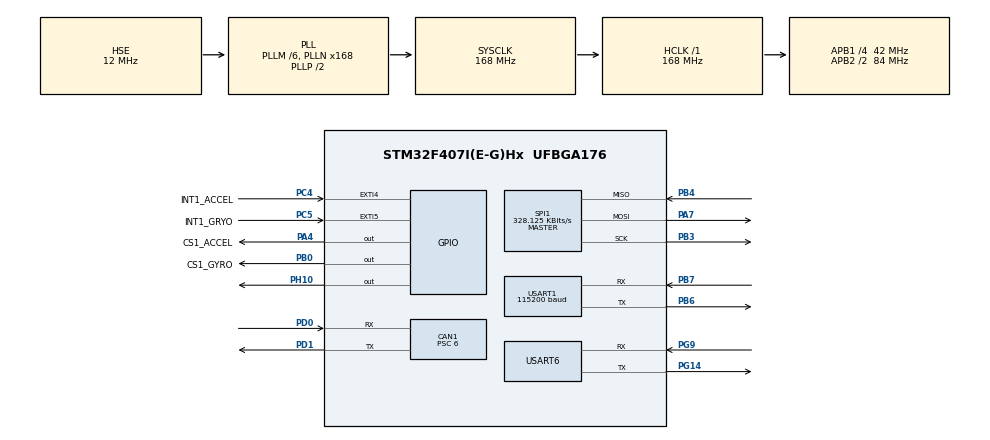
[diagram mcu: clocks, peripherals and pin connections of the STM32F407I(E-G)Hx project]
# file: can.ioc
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CAN1.BS1=CAN_BS1_10TQ
CAN1.BS2=CAN_BS2_3TQ
CAN1.CalculateTimeQuantum=142.85714285714286
CAN1.Prescaler=6
Dma.Request0=SPI1_RX
Dma.Request1=SPI1_TX
Dma.SPI1_RX.0.Direction=DMA_PERIPH_TO_MEMORY
Dma.SPI1_RX.0.FIFOMode=DMA_FIFOMODE_DISABLE
Dma.SPI1_RX.0.Instance=DMA2_Stream2
Dma.SPI1_RX.0.MemDataAlignment=DMA_MDATAALIGN_BYTE
Dma.SPI1_RX.0.MemInc=DMA_MINC_ENABLE
Dma.SPI1_RX.0.Mode=DMA_NORMAL
Dma.SPI1_RX.0.PeriphDataAlignment=DMA_PDATAALIGN_BYTE
Dma.SPI1_RX.0.PeriphInc=DMA_PINC_DISABLE
Dma.SPI1_RX.0.Priority=DMA_PRIORITY_VERY_HIGH
Dma.SPI1_TX.1.Direction=DMA_MEMORY_TO_PERIPH
Dma.SPI1_TX.1.FIFOMode=DMA_FIFOMODE_DISABLE
Dma.SPI1_TX.1.Instance=DMA2_Stream3
Dma.SPI1_TX.1.MemDataAlignment=DMA_MDATAALIGN_BYTE
Dma.SPI1_TX.1.MemInc=DMA_MINC_ENABLE
Dma.SPI1_TX.1.Mode=DMA_NORMAL
Dma.SPI1_TX.1.PeriphDataAlignment=DMA_PDATAALIGN_BYTE
Dma.SPI1_TX.1.PeriphInc=DMA_PINC_DISABLE
Dma.SPI1_TX.1.Priority=DMA_PRIORITY_HIGH
Mcu.Family=STM32F4
Mcu.Name=STM32F407I(E-G)Hx
Mcu.Package=UFBGA176
NVIC.CAN1_RX0_IRQn=true\:2\:0\:true\:false\:true\:true\:true\:true
NVIC.DMA2_Stream2_IRQn=true\:0\:0\:false\:false\:false\:false\:true\:true
NVIC.DMA2_Stream3_IRQn=true\:0\:0\:false\:false\:false\:false\:true\:true
NVIC.PriorityGroup=NVIC_PRIORITYGROUP_4
NVIC.TIM1_UP_TIM10_IRQn=true\:1\:0\:true\:false\:true\:true\:true\:true
NVIC.USART1_IRQn=true\:0\:0\:false\:false\:true\:true\:true\:true
NVIC.USART6_IRQn=true\:0\:0\:false\:false\:true\:true\:true\:true
PA13.Mode=Serial_Wire
PA13.Signal=SYS_JTMS-SWDIO
PA14.Mode=Serial_Wire
PA14.Signal=SYS_JTCK-SWCLK
PA4.GPIO_Label=CS1_ACCEL
PA4.GPIO_PuPd=GPIO_PULLUP
PA4.GPIO_Speed=GPIO_SPEED_FREQ_HIGH
PA4.PinState=GPIO_PIN_SET
PA4.Signal=GPIO_Output
PA7.Mode=Full_Duplex_Master
PA7.Signal=SPI1_MOSI
PB0.GPIO_Label=CS1_GYRO
PB0.GPIO_PuPd=GPIO_PULLUP
PB0.GPIO_Speed=GPIO_SPEED_FREQ_HIGH
PB0.PinState=GPIO_PIN_SET
PB0.Signal=GPIO_Output
PB3.Mode=Full_Duplex_Master
PB3.Signal=SPI1_SCK
PB4.Mode=Full_Duplex_Master
PB4.Signal=SPI1_MISO
PB6.Mode=Asynchronous
PB6.Signal=USART1_TX
PB7.Mode=Asynchronous
PB7.Signal=USART1_RX
PC4.GPIO_Label=INT1_ACCEL
PC4.GPIO_ModeDefaultEXTI=GPIO_MODE_IT_FALLING
PC4.GPIO_PuPd=GPIO_PULLUP
PC4.Signal=GPXTI4
PC5.GPIO_Label=INT1_GRYO
PC5.GPIO_ModeDefaultEXTI=GPIO_MODE_IT_FALLING
PC5.GPIO_PuPd=GPIO_PULLUP
PC5.Signal=GPXTI5
PD0.Mode=Master
PD0.Signal=CAN1_RX
PD1.Mode=Master
PD1.Signal=CAN1_TX
PF6.GPIO_ModeDefaultPP=GPIO_MODE_AF_PP
PF6.GPIO_PuPd=GPIO_NOPULL
PF6.GPIO_Speed=GPIO_SPEED_FREQ_LOW
PF6.Signal=S_TIM10_CH1
PG14.Mode=Asynchronous
PG14.Signal=USART6_TX
PG9.Mode=Asynchronous
PG9.Signal=USART6_RX
PH0-OSC_IN.Mode=HSE-External-Oscillator
PH0-OSC_IN.Signal=RCC_OSC_IN
PH1-OSC_OUT.Mode=HSE-External-Oscillator
PH1-OSC_OUT.Signal=RCC_OSC_OUT
PH10.Signal=GPIO_Output
ProjectManager.HeapSize=0x200
ProjectManager.StackSize=0x400
ProjectManager.TargetToolchain=MDK-ARM V5
RCC.48MHZClocksFreq_Value=84000000
RCC.AHBFreq_Value=168000000
RCC.APB1CLKDivider=RCC_HCLK_DIV4
RCC.APB1Freq_Value=42000000
RCC.APB1TimFreq_Value=84000000
RCC.APB2CLKDivider=RCC_HCLK_DIV2
RCC.APB2Freq_Value=84000000
RCC.APB2TimFreq_Value=168000000
RCC.CortexFreq_Value=168000000
RCC.HCLKFreq_Value=168000000
RCC.HSE_VALUE=12000000
RCC.HSI_VALUE=16000000
RCC.LSE_VALUE=32768
RCC.PLLM=6
RCC.PLLN=168
RCC.PLLSourceVirtual=RCC_PLLSOURCE_HSE
RCC.SYSCLKFreq_VALUE=168000000
RCC.SYSCLKSource=RCC_SYSCLKSOURCE_PLLCLK
RCC.VCOOutputFreq_Value=336000000
SH.S_TIM10_CH1.0=TIM10_CH1
SPI1.BaudRatePrescaler=SPI_BAUDRATEPRESCALER_256
SPI1.CLKPhase=SPI_PHASE_2EDGE
SPI1.CLKPolarity=SPI_POLARITY_HIGH
SPI1.CalculateBaudRate=328.125 KBits/s
SPI1.Direction=SPI_DIRECTION_2LINES
SPI1.Mode=SPI_MODE_MASTER
SPI1.VirtualType=VM_MASTER
TIM10.Period=8400
TIM10.Prescaler=1000
USART1.BaudRate=115200
USART1.VirtualMode=VM_ASYNC
USART6.VirtualMode=VM_ASYNC
VP_TIM10_VS_ClockSourceINT.Mode=Enable_Timer
board=custom

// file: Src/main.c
/* USER CODE BEGIN Header */
/**
  ******************************************************************************
  * @file           : main.c
  * @brief          : Main program body
  ******************************************************************************
  * @attention
  *
  * <h2><center>&copy; Copyright (c) 2019 STMicroelectronics.
  * All rights reserved.</center></h2>
  *
  * This software component is licensed by ST under BSD 3-Clause license,
  * the "License"; You may not use this file except in compliance with the
  * License. You may obtain a copy of the License at:
  *                        opensource.org/licenses/BSD-3-Clause
  *
  ******************************************************************************
  */
/* USER CODE END Header */

#include "main.h"
#include "can.h"
#include "dma.h"
#include "spi.h"
#include "tim.h"
#include "usart.h"
#include "gpio.h"

/* USER CODE BEGIN Includes */
#include "bsp_can.h"
#include "CAN_receive.h"
#include "BMI088driver.h"
#include "PID.h"
#include "math.h"
#include "CAN_receive.h"

#define FRONT_WHEEL_DISTANCE 0.628  // 前轮到车辆重心的距离 (单位: mm)
#define REAR_WHEEL_DISTANCE 0.440   // 后轮到车辆重心的距离 (单位: mm)
#define MAX_STEERING_ANGLE 30     // �?大转向角度（度）
#define M_PI 3.1415926
#define MAX_SP 21000  // �?大车速（km/h�?
#define Dwheel  0.144
float vehicle_speed;   // 车�?�，单位 km/h
float turning_radius;   // 转弯半径，单�? m

// 假设车�?�和转向角度通过某种方式获取?
void CalculateAndSendWheelSpeeds(float speed, float angle);
float CalculateTurningRadius(float speed, float angle);

/* USER CODE END Includes */

void SystemClock_Config(void);

/* USER CODE BEGIN 0 */
PID_TypeDef PID_Example;
float measure = 0;
float target = 0;
extern motor_measure_t motor_chassis[7];
extern uint8_t Fore,Back,Left,Right;
extern  int fputc(int ch);
extern int MAX_SPEED;
extern int SPEED1;
extern int SPEED2;
extern int SPEED3;
extern int SPEED4;
extern uint8_t rx_buf;
extern uint8_t Bluetooth_data;
extern int flag1;
uint8_t A[]={02,02,02,02,02,02,02,02};
extern int Dif;
extern int flag;
extern int flag2;
extern int flag3;
extern int max();
extern int lim();
extern int limit();
int t_speed=0;
extern uint8_t Rec_Speed[8];
extern int Speed_Num;
/* USER CODE END 0 */

int main(void)
{

  /* MCU Configuration--------------------------------------------------------*/

  /* Reset of all peripherals, Initializes the Flash interface and the Systick. */
  HAL_Init();

  /* Configure the system clock */
  SystemClock_Config();

  /* Initialize all configured peripherals */
  MX_GPIO_Init();
  MX_DMA_Init();
  MX_CAN1_Init();
  MX_USART6_UART_Init();
  MX_SPI1_Init();
  MX_TIM10_Init();
  MX_USART1_UART_Init();
  /* USER CODE BEGIN 2 */
    can_filter_init();
	HAL_TIM_Base_Start_IT(&htim10);
//	    while(BMI088_init())
//    {
//        ;
//    }
//	PID_Init(&PID_Example, 9600, 5000, 0,3, 1, 5, 0.3, 0.3, 100, 100, ErrorHandle | Integral_Limit | OutputFilter);
   HAL_Delay(2000);
	 		CAN_cmd_init();
    __HAL_UART_ENABLE_IT(&huart1, UART_IT_RXNE);  //receive interrupt
    __HAL_UART_ENABLE_IT(&huart1, UART_IT_IDLE);  //idle interrupt
	 __HAL_UART_ENABLE_IT(&huart6, UART_IT_RXNE);  //receive interrupt
    __HAL_UART_ENABLE_IT(&huart6, UART_IT_IDLE);  //idle interrupt
  /* USER CODE END 2 */

  /* Infinite loop */
  /* USER CODE BEGIN WHILE */
  CAN_cmd_chassis(0, 0, 0, 0);

  while (1)
  {
	 // CAN_cmd_chassis1(A);

	  if(flag1==1)
	  {
		  flag1=0;
	    if(Bluetooth_data==0xF0)
		 {
		 	flag3=1;
		  }
		  //CAN_cmd_chassis(2000,-2000,2000,-2000);
		  if(flag3==0)
		  {

	  if(Bluetooth_data==0x00)

	{
		stop:

	   flag2=1;
		switch(flag)
     {
		case 1:
			for(int i=1000;t_speed-i>=0;i+=1000)
              {
				if(flag2==1&&flag1==0)
				{
			    CAN_cmd_chassis(limit(t_speed-i), -limit(t_speed-i),limit(t_speed-i),-limit(t_speed-i));
				HAL_Delay(50);
				t_speed=t_speed-i;
				}
				else
                {t_speed=t_speed-i;
				goto END;}
			  }
			   CAN_cmd_chassis(0,0,0,0);
			  flag=0;flag2=0;break;
	    case 2:
			for(int i=1000;t_speed-i>=0;i+=1000)
              {
				if(flag2==1&&flag1==0)
				{
			    CAN_cmd_chassis(-limit(t_speed-i), limit(t_speed-i),-limit(t_speed-i),limit(t_speed-i));
				HAL_Delay(50);
				t_speed=t_speed-i;
				}
	          else
                {t_speed=t_speed-i;
				goto END;}
			  }
			   CAN_cmd_chassis(0,0,0,0);
			  flag=0;flag2=0;break;
	    case 3:
			for(int i=1000;t_speed-i>=0;i+=1000)
              {
				if(flag2==1&&flag1==0)
				{
			     CAN_cmd_chassis(limit(t_speed-Dif-i), -limit(t_speed-i),limit(t_speed-Dif-i),-limit(t_speed-i));
				 HAL_Delay(50);
				t_speed=t_speed-i;
				}
				else
                {t_speed=t_speed-i;
				goto END;}
			  }
			   CAN_cmd_chassis(0,0,0,0);
			  flag=0;flag2=0;break;
	    case 4:
			for(int i=1000;t_speed-i>=0;i+=1000)
              {
				if(flag2==1&&flag1==0)
				{
			     CAN_cmd_chassis(limit(t_speed-i), -limit(t_speed-Dif-i),limit(t_speed-i),-limit(t_speed-Dif-i));
				 HAL_Delay(50);
					t_speed=t_speed-i;
				}
				else
                {t_speed=t_speed-i;
				goto END;}
			  }
			  CAN_cmd_chassis(0,0,0,0);
			  flag=0;flag2=0;break;
	    case 5:
			for(int i=1000;t_speed-i>=0;i+=1000)
              {
				if(flag2==1&&flag1==0)
				{
			     CAN_cmd_chassis(-limit(t_speed-i), -limit(t_speed-i),-limit(t_speed-i),-limit(t_speed-i));
				 HAL_Delay(50);
					t_speed=t_speed-i;
				}
				else
                {t_speed=t_speed-i;
				goto END;}
			  }
			  CAN_cmd_chassis(0,0,0,0);
			  flag=0;flag2=0;break;
	    case 6:
			for(int i=1000;t_speed-i>=0;i+=1000)
              {
				if(flag2==1&&flag1==0)
				{
			     CAN_cmd_chassis(limit(t_speed-i), limit(t_speed-i),limit(t_speed-i),limit(t_speed-i));
				 HAL_Delay(50);
					t_speed=t_speed-i;
				}
				else
                {t_speed=t_speed-i;
				goto END;}
			  }
			  CAN_cmd_chassis(0,0,0,0);
			  flag=0;flag2=0;break;
//		//case 2:for(int i=1000;a-i>=0;i+=1000) {CAN_cmd_chassis(-limit(SPEED1-i), limit(SPEED2-i),-limit(SPEED3-i),limit(SPEED4-i));HAL_Delay(100);flag=0;}break;
//		case 3:for(int i=1000;a-i>=0;i+=1000) {CAN_cmd_chassis(limit(SPEED1-Dif-i), -limit(SPEED2-i),limit(SPEED3-Dif-i),-limit(SPEED4-i));HAL_Delay(100);flag=0;}break;
//		case 4:for(int i=1000;a-i>=0;i+=1000) {CAN_cmd_chassis(limit(SPEED1-i), -limit(SPEED2-Dif-i),limit(SPEED3-i),-limit(SPEED4-Dif-i));HAL_Delay(100);flag=0;}break;
//		case 5:for(int i=1000;a-i>=0;i+=1000) {CAN_cmd_chassis(-limit(SPEED1-i), -limit(SPEED2-i),-limit(SPEED3-i),-limit(SPEED4-i));HAL_Delay(100);flag=0;}break;
//		case 6:for(int i=1000;a-i>=0;i+=1000) {CAN_cmd_chassis(limit(SPEED1-i), limit(SPEED2-i),limit(SPEED3-i),limit(SPEED4-i));HAL_Delay(100);flag=0; }break;

	 }//ɲ

	}
	 if(Bluetooth_data==0x0A)
		 {
			 if(flag==2)
			 {
				 goto stop;
			 }

			flag=1;
			 for(int i=t_speed;i<=max();i+=1000)
			 {
				 if(flag==1&&flag1==0)
			  {CAN_cmd_chassis(lim(i,SPEED1), -lim(i,SPEED2),  lim(i,SPEED3), -lim(i,SPEED4));t_speed=i;HAL_Delay(50);}
			  else
			  {t_speed=i;goto END;}
			 }//ǰ
		 }
	 else if(Bluetooth_data==0x0B)
		{
	      if(flag!=0)
		  {goto stop;
		  }
			flag=2;

			for(int i=t_speed;i<=max();i+=1000)
		 {
			if(flag==2&&flag1==0)
			{CAN_cmd_chassis(-lim(i,SPEED1), lim(i,SPEED2), -lim(i,SPEED3), lim(i,SPEED4));t_speed=i;HAL_Delay(50);}
			 else
			  {t_speed=i;goto END;}
		 }//��

    	}
	 else if(Bluetooth_data==0x0D)
		 {

			 flag=3;
			 for(int i=t_speed;i<=max();i+=1000)
			 {
				 if(flag==3&&flag1==0)
			 {CAN_cmd_chassis(lim(i,SPEED1-Dif), -lim(i,SPEED2), lim(i,SPEED3-Dif), -lim(i,SPEED4));t_speed=i;HAL_Delay(50);}
			  else
			  {t_speed=i;goto END;}
			 }
		 }//��
	else if(Bluetooth_data==0x0C)
		{

			flag=4;
			for(int i=t_speed;i<=max();i+=1000)
		 {
			if(flag==4&&flag1==0)
			{CAN_cmd_chassis(lim(i,SPEED1), -lim(i,(SPEED2-Dif)), lim(i,SPEED3), -lim(i,(SPEED4-Dif)));t_speed=i;HAL_Delay(50);}
			else
			 {t_speed=i;goto END;}
		 }//��
	    }
	else if(Bluetooth_data==0x02)
		{

			flag=5;
			for(int i=t_speed;i<=max();i+=1000)
		 {
			if(flag==5&&flag1==0)
			{CAN_cmd_chassis(-lim(i,SPEED1), -lim(i,SPEED2),  -lim(i,SPEED3), -lim(i,SPEED4));t_speed=i;HAL_Delay(50);}
			else
			 {t_speed=i;goto END;}
		 }
	 }
	else if(Bluetooth_data==0x03)
		{

			flag=6;
			for(int i=t_speed;i<=max();i+=1000)
		   {
			   if(flag==6&&flag1==0)
		       {CAN_cmd_chassis(lim(i,SPEED1), lim(i,SPEED2),  lim(i,SPEED3), lim(i,SPEED4));t_speed=i;HAL_Delay(50);}
			   else
			 {t_speed=i;goto END;}
		   }
	    }

		else if(Bluetooth_data==0x08)
	{

		if(SPEED1<21000)
		{
			SPEED1+=1000;
			SPEED2+=1000;
			SPEED3+=1000;
			SPEED4+=1000;
		}
		else
		{
			HAL_GPIO_WritePin(GPIOH,GPIO_PIN_10,1);
			HAL_Delay(500);
			HAL_GPIO_WritePin(GPIOH,GPIO_PIN_10,0);
		}
	}
		else if(Bluetooth_data==0x05)
	{

		if(SPEED1>0)
		{
			SPEED1-=1000;
			SPEED2-=1000;
			SPEED3-=1000;
			SPEED4-=1000;
		}
		else
		{
			HAL_GPIO_WritePin(GPIOH,GPIO_PIN_10,1);
			HAL_Delay(500);
			HAL_GPIO_WritePin(GPIOH,GPIO_PIN_10,0);
		}
	}

	else if(Bluetooth_data==0x07)
	{

		if(Dif<21000)
		{
			Dif+=1000;
		}
		else
		{
			HAL_GPIO_WritePin(GPIOH,GPIO_PIN_10,1);
			HAL_Delay(500);
			HAL_GPIO_WritePin(GPIOH,GPIO_PIN_10,0);
		}
	}
	else if(Bluetooth_data==0x04)
	{

		if(Dif>0)
		{
			Dif-=1000;
		}
		else
		{
			HAL_GPIO_WritePin(GPIOH,GPIO_PIN_10,1);
			HAL_Delay(500);
			HAL_GPIO_WritePin(GPIOH,GPIO_PIN_10,0);
		}
	}
		else if(Bluetooth_data==0x01)
	{
		CAN_cmd_chassis(0,0,0,0);
         t_speed=0;
	}
  END:

    flag2=0;
		  }

}
    /* USER CODE END WHILE */

    /* USER CODE BEGIN 3 */
//	  CAN_cmd_chassis(10000,10000, 10000, 10000);
//	  HAL_Delay(1000);
//	    vehicle_speed = 3.0f;    // 车�?? 60 km/h
//	   turning_radius = 0.05f;   // 假设目标转弯半径�?10�?
//	   CalculateAndSendWheelSpeeds(vehicle_speed, turning_radius);
	  // CAN_cmd_chassis(2000, -21000, 2000, -21000);
//	  CAN_cmd_chassis(15000, -15000, 15000, -15000);
//	  HAL_Delay(3000);
//	  	  CAN_cmd_chassis(-21000, -21000, -21000, -21000);
//	   HAL_Delay(5000);
//	  	  CAN_cmd_chassis(21000, 21000, 21000, 21000);
//	   HAL_Delay(5000);
//	    CAN_cmd_chassis(-15000, +15000, -15000, +15000);
//	  HAL_Delay(3000);

//	  	//ң��
//	if((Fore==0)&&(Back==0))target=0;//δ���ܵ�ǰ������ָ��-->�ٶ����㣬����ԭ��
//	if(Fore==1)
//	{
////		if(distance<50)
////			target--;
////		else
//			target++;
//	}
//	if(Back==1){target--;}
//	CAN_cmd_chassis(
//	PID_Calculate(&PID_Example,motor_chassis[0].ecd,target),
//	PID_Calculate(&PID_Example,motor_chassis[1].ecd,target),
//	PID_Calculate(&PID_Example,motor_chassis[2].ecd,target),
//	PID_Calculate(&PID_Example,motor_chassis[3].ecd,target)
//	);
  }
  /* USER CODE END 3 */
}

void SystemClock_Config(void)
{
  RCC_OscInitTypeDef RCC_OscInitStruct = {0};
  RCC_ClkInitTypeDef RCC_ClkInitStruct = {0};

  /** Configure the main internal regulator output voltage
  */
  __HAL_RCC_PWR_CLK_ENABLE();
  __HAL_PWR_VOLTAGESCALING_CONFIG(PWR_REGULATOR_VOLTAGE_SCALE1);
  /** Initializes the CPU, AHB and APB busses clocks
  */
  RCC_OscInitStruct.OscillatorType = RCC_OSCILLATORTYPE_HSE;
  RCC_OscInitStruct.HSEState = RCC_HSE_ON;
  RCC_OscInitStruct.PLL.PLLState = RCC_PLL_ON;
  RCC_OscInitStruct.PLL.PLLSource = RCC_PLLSOURCE_HSE;
  RCC_OscInitStruct.PLL.PLLM = 6;
  RCC_OscInitStruct.PLL.PLLN = 168;
  RCC_OscInitStruct.PLL.PLLP = RCC_PLLP_DIV2;
  RCC_OscInitStruct.PLL.PLLQ = 4;
  if (HAL_RCC_OscConfig(&RCC_OscInitStruct) != HAL_OK)
  {
    Error_Handler();
  }
  /** Initializes the CPU, AHB and APB busses clocks
  */
  RCC_ClkInitStruct.ClockType = RCC_CLOCKTYPE_HCLK|RCC_CLOCKTYPE_SYSCLK
                              |RCC_CLOCKTYPE_PCLK1|RCC_CLOCKTYPE_PCLK2;
  RCC_ClkInitStruct.SYSCLKSource = RCC_SYSCLKSOURCE_PLLCLK;
  RCC_ClkInitStruct.AHBCLKDivider = RCC_SYSCLK_DIV1;
  RCC_ClkInitStruct.APB1CLKDivider = RCC_HCLK_DIV4;
  RCC_ClkInitStruct.APB2CLKDivider = RCC_HCLK_DIV2;

  if (HAL_RCC_ClockConfig(&RCC_ClkInitStruct, FLASH_LATENCY_5) != HAL_OK)
  {
    Error_Handler();
  }
}

/* USER CODE BEGIN 4 */
void CalculateAndSendWheelSpeeds(float speed, float turning_radius)
{
    float front_left_speed, front_right_speed, rear_left_speed, rear_right_speed;
    float angular_velocity;
 	float r1,r2;
    // 计算角�?�度 (omega = v / R)
    angular_velocity = (speed / 3.6) / turning_radius;
	r1=turning_radius-(REAR_WHEEL_DISTANCE/2);
	r2=turning_radius+(REAR_WHEEL_DISTANCE/2);
    // 计算前后轮的切向速度
    front_left_speed = angular_velocity * r1/M_PI/Dwheel*6000;
    front_right_speed = angular_velocity * r2/M_PI/Dwheel*6000;
    rear_left_speed = angular_velocity * r1/M_PI/Dwheel*6000;
    rear_right_speed = angular_velocity *  r2/M_PI/Dwheel*6000;

    // 如果车�?�为负（例如倒车），则将切向速度反转
//    if (speed < 0) {
//        front_left_speed = -front_left_speed;
//        front_right_speed = -front_right_speed;
//        rear_left_speed = -rear_left_speed;
//        rear_right_speed = -rear_right_speed;
//    }

    // 限制轮�?�的范围，避免超出最大�?�度
    if (front_left_speed > MAX_SPEED) front_left_speed = MAX_SPEED;
    if (front_right_speed > MAX_SPEED) front_right_speed = MAX_SPEED;
    if (rear_left_speed > MAX_SPEED) rear_left_speed = MAX_SPEED;
    if (rear_right_speed > MAX_SPEED) rear_right_speed = MAX_SPEED;

    // 将前后轮的切速度发�?�到CAN总线
    CAN_cmd_chassis(front_left_speed, -front_right_speed, rear_left_speed, -rear_right_speed);
}

float CalculateTurningRadius(float speed, float angle)
{
    // 转向半径计算公式：R = v / tan(θ)
    // 其中v是车速，θ是转向角，单位转换：车�?�从 km/h 转为 m/s
    float turning_radius = (speed / 3.6) / tan(angle * M_PI / 180.0);
    return turning_radius;
}
/* USER CODE END 4 */

void Error_Handler(void)
{
}

/************************ (C) COPYRIGHT STMicroelectronics *****END OF FILE****/
